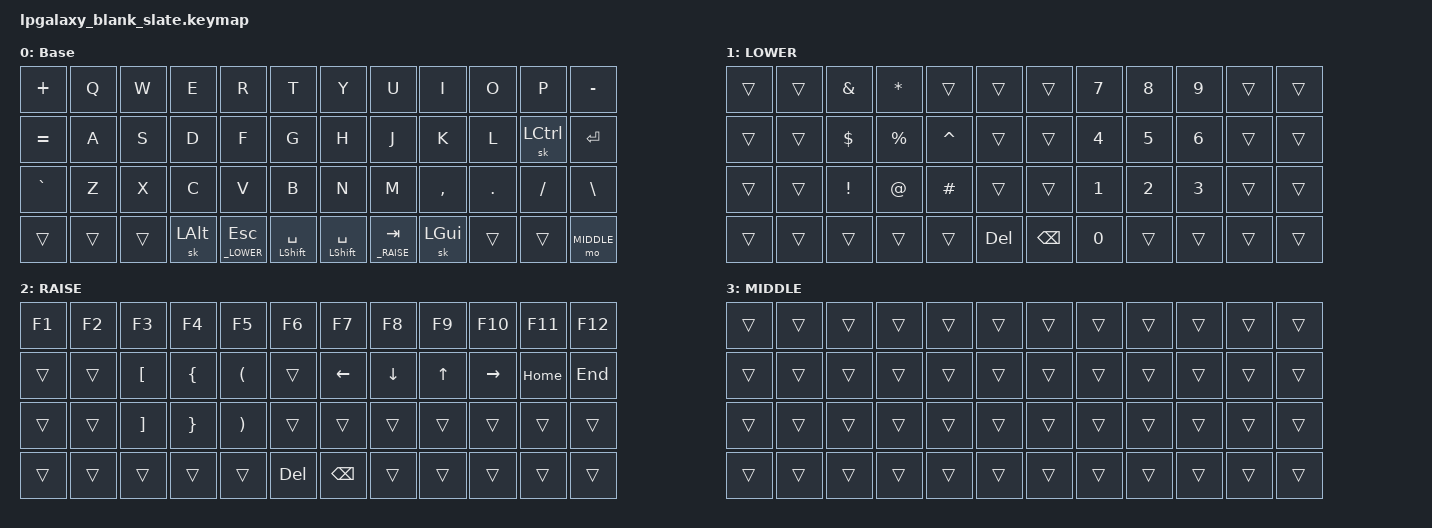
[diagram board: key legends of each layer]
/*
 * Copyright (c) 2022 Pete Johanson
 *
 * SPDX-License-Identifier: MIT
 */

#include <behaviors.dtsi>
#include <dt-bindings/zmk/keys.h>
#include <dt-bindings/zmk/bt.h>
#include <dt-bindings/zmk/outputs.h>

#define _LOWER 1
#define _RAISE 2
#define _MIDDLE 3


// Using layer taps on thumbs, having quick tap as well helps w/ repeating space/backspace
&lt { quick_tap_ms = <200>; };

#define BT(n) BT_SEL n

/ {
    chosen {
       zmk,physical-layout = &layout_ortho_4x12_all1u;
    };


	combos {
        compatible = "zmk,combos";

        combo_g_spc {
            timeout-ms = <50>;        // 同時押しと判定する時間（ミリ秒）
            key-positions = <19 20>;   // u j
            bindings = <&kp LG(SPACE)>;
            layers = <0>;             // 有効にするレイヤー（通常は基本レイヤー）
        };        
        combo_double_quote {
            timeout-ms = <50>;        // 同時押しと判定する時間（ミリ秒）
            key-positions = <7 19>;   // u j
            bindings = <&kp DQT>;
            layers = <0>;             // 有効にするレイヤー（通常は基本レイヤー）
        };
        combo_single_quote {
            timeout-ms = <50>;        // 同時押しと判定する時間（ミリ秒）
            key-positions = <8 20>;   // k i
            bindings = <&kp SQT>;
            layers = <0>;             // 有効にするレイヤー（通常は基本レイヤー）
        };
        combo_coln {
            timeout-ms = <50>;        // 同時押しと判定する時間（ミリ秒）
            key-positions = <15 16>;  // f d
            bindings = <&kp COLON>;
            layers = <0>;             // 有効にするレイヤー（通常は基本レイヤー）
        };
        combo_semi_coln {
            timeout-ms = <50>;        // 同時押しと判定する時間（ミリ秒）
            key-positions = <14 15>;  // s i
            bindings = <&kp SEMI>;
            layers = <0>;             // 有効にするレイヤー（通常は基本レイヤー）
        };
    };

    macros {
      ZMK_MACRO(thumbs_up,
		wait-ms = <1>;
		tap-ms = <5>;
                bindings = <&kp PLUS &kp COLON &kp PLUS &kp N1 &kp COLON &kp RET>;
		)
    };
    
    tap_dances {
    	shifty: shift_caps_word {
		compatible = "zmk,behavior-tap-dance";
		label = "TD_SHIFTY";
		#binding-cells = <0>;
		tapping-term-ms = <150>;
		bindings = <&kp LSHFT>, <&caps_word>;
	};
    };

    keymap {
        compatible = "zmk,keymap";

        base_layer {
            label = "Base";
            bindings = <
 &kp PLUS   &kp Q   &kp W   &kp E       &kp R          &kp T             &kp Y             &kp U           &kp I       &kp O      &kp P         &kp MINUS
 &kp EQUAL  &kp A   &kp S   &kp D       &kp F          &kp G             &kp H             &kp J           &kp K       &kp L      &sk LCTRL     &kp ENTER
 &kp GRAVE  &kp Z   &kp X   &kp C       &kp V          &kp B             &kp N             &kp M           &kp COMMA   &kp DOT    &kp FSLH      &kp BSLH
 &trans     &trans  &trans  &sk LALT    &lt _LOWER ESC &mt LSHIFT SPACE  &mt LSHIFT SPACE  &lt _RAISE TAB  &sk LGUI    &trans     &trans        &mo _MIDDLE
            >;
        };

        lower_layer {
            label = "LOWER";
            bindings = <
&trans   &trans   &kp AMPS   &kp STAR   &trans     &trans   &trans    &kp N7   &kp N8   &kp N9   &trans   &trans
&trans   &trans   &kp DLLR   &kp PRCNT  &kp CARET  &trans   &trans    &kp N4   &kp N5   &kp N6   &trans   &trans
&trans   &trans   &kp EXCL   &kp AT     &kp POUND  &trans   &trans    &kp N1   &kp N2   &kp N3   &trans   &trans
&trans   &trans   &trans     &trans     &trans     &kp DEL  &kp BSPC  &kp N0   &trans   &trans   &trans   &trans
            >;
        };

        raise_layer {
            label = "RAISE";
            bindings = <
&kp F1      &kp F2     &kp F3     &kp F4     &kp F5     &kp F6    &kp F7     &kp F8     &kp F9    &kp F10     &kp F11   &kp F12
&trans      &trans     &kp LBKT   &kp LBRC   &kp LPAR   &trans    &kp LEFT   &kp DOWN   &kp UP    &kp RIGHT   &kp HOME  &kp END
&trans      &trans     &kp RBKT   &kp RBRC   &kp RPAR   &trans    &trans     &trans     &trans    &trans      &trans    &trans
&trans      &trans     &trans     &trans     &trans     &kp DEL   &kp BSPC   &trans     &trans    &trans      &trans    &trans
            >;
        };

        middle_layer {
            label = "MIDDLE";
            bindings = <
&trans      &trans     &trans     &trans     &trans     &trans   &trans   &trans     &trans    &trans      &trans    &trans
&trans      &trans     &trans     &trans     &trans     &trans   &trans   &trans     &trans    &trans      &trans    &trans
&trans      &trans     &trans     &trans     &trans     &trans   &trans   &trans     &trans    &trans      &trans    &trans
&trans      &trans     &trans     &trans     &trans     &trans   &trans   &trans     &trans    &trans      &trans    &trans
            >;
        };

    };
};
